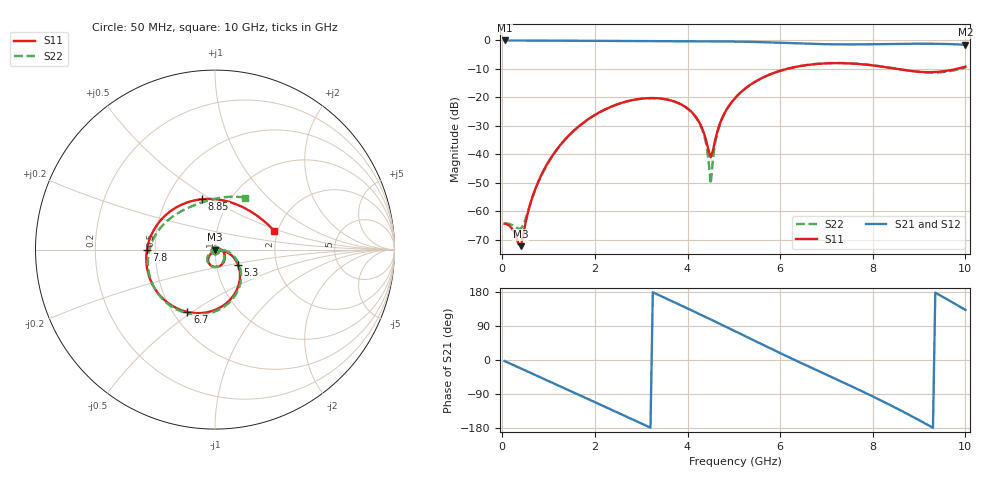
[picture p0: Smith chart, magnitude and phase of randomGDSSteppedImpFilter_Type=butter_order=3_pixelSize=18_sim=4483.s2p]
! freq	dB(S11)	phase(S11)	dB(S12)	phase(S12)
!  dB(S21)	phase(S21)	dB(S22)	phase(S22)
!S-par simulation data
#  GHz  S  DB  R 50
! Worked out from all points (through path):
!   200 points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, 50 MHz to 10 GHz, reference 50 ohm
!   highest |S21| = 0.00 dB at 50 MHz (marker M1); lowest = -1.5 dB at 10 GHz (marker M2)
!   group delay of S21, straight-line fit = 161 ps
!   lowest |S11| = -72.3 dB at 400 MHz (marker M3), VSWR 1.00, Z = 50 + j0.0108 ohm
!   |S11| at or under -10 dB: start of sweep to 6.147 GHz; 8.516 GHz to 9.811 GHz (1.294 GHz wide, 14.1 % of centre)
!   |S22| runs from -66.2 to -7.9 dB; largest |S21 - S12| = 0
!   S11 on the Smith chart (normalised r, x): 50 MHz: 1.00, -0.00; 5.3 GHz: 1.27, -0.22; 6.7 GHz: 0.59, -0.48; 7.8 GHz: 0.45, -0.00; 8.85 GHz: 0.75, +0.46; 10 GHz: 1.92, +0.45
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0.05  -64.40 -14.2  -0.00 -2.8  -0.00 -2.8  -64.34 -14.3
0.4  -72.31 26.4  -0.03 -22.3  -0.03 -22.3  -66.18 -0.4
0.6  -57.66 71.3  -0.04 -33.4  -0.04 -33.4  -57.67 42.2
0.85  -47.05 56.9  -0.06 -47.2  -0.06 -47.2  -47.30 40.1
1.25  -36.81 30.0  -0.08 -69.5  -0.08 -69.5  -36.92 19.7
1.75  -28.92 -1.2  -0.12 -97.3  -0.12 -97.3  -28.97 -8.3
2.65  -21.60 -53.6  -0.20 -147.7  -0.20 -147.7  -21.62 -58.5
3.4  -20.38 -95.4  -0.27 170.2  -0.27 170.2  -20.40 -99.9
4.2  -27.36 -133.7  -0.30 124.5  -0.30 124.5  -27.54 -142.3
4.4  -35.02 -127.4  -0.30 112.9  -0.30 112.9  -36.16 -147.1
4.5  -41.07 -74.4  -0.31 107.1  -0.31 107.1  -50.46 -74.9
4.55  -38.58 -34.4  -0.31 104.1  -0.31 104.1  -41.48 -6.1
4.65  -31.62 -11.2  -0.32 98.3  -0.32 98.3  -32.03 1.6
5.05  -19.83 -20.3  -0.39 74.6  -0.39 74.6  -19.84 -16.8
5.3  -16.24 -33.5  -0.47 59.7  -0.47 59.7  -16.23 -30.9
6  -10.68 -73.5  -0.82 18.3  -0.82 18.3  -10.66 -70.9
6.7  -8.40 -113.9  -1.21 -21.8  -1.21 -21.8  -8.37 -109.6
7.8  -8.43 -179.9  -1.37 -84.3  -1.37 -84.3  -8.36 -168.4
8.35  -9.58 142.5  -1.25 -117.3  -1.25 -117.3  -9.51 162.3
8.85  -10.76 104.2  -1.16 -148.9  -1.16 -148.9  -10.77 135.2
9.45  -10.97 56.2  -1.20 171.0  -1.20 171.0  -11.20 99.7
10  -9.21 17.3  -1.52 132.2  -1.52 132.2  -9.51 59.9
